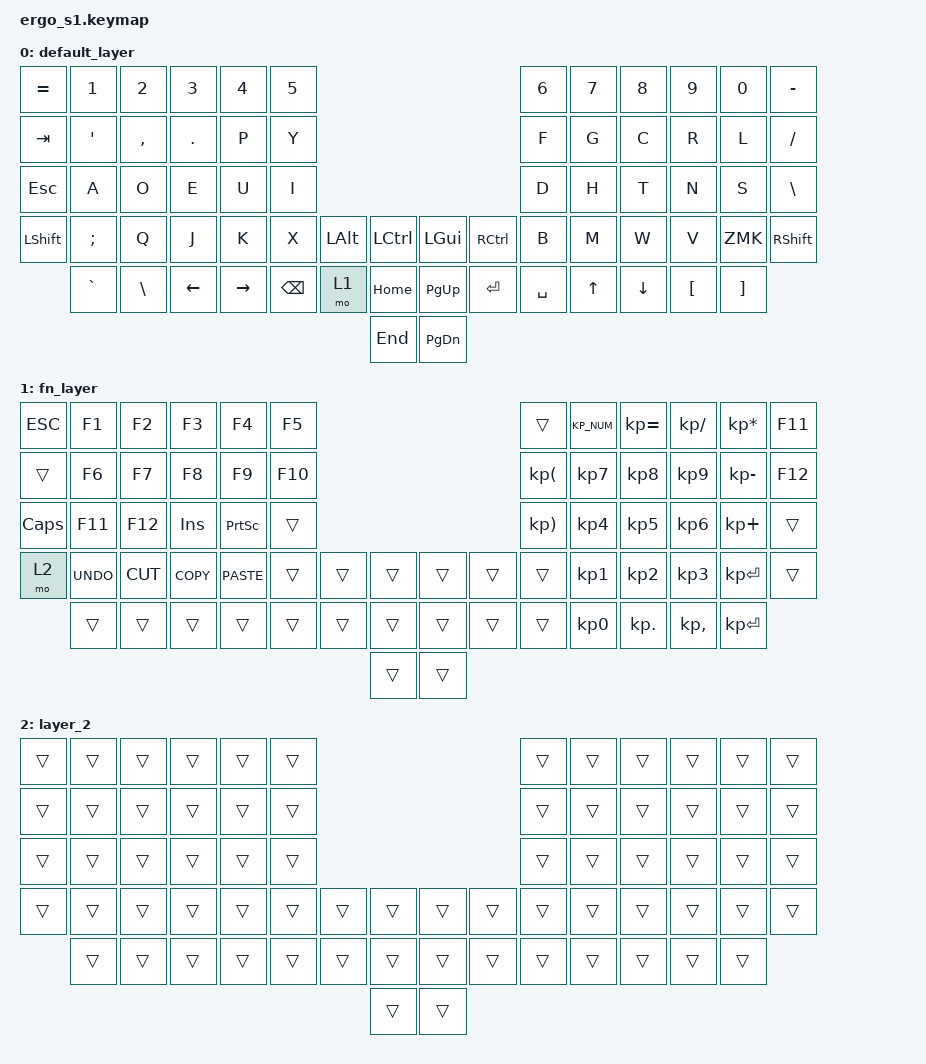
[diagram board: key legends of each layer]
/*
 * Copyright (c) 2021 The ZMK Contributors
 *
 * SPDX-License-Identifier: MIT
 */

#include <behaviors.dtsi>
#include <dt-bindings/zmk/keys.h>
#include <dt-bindings/zmk/bt.h>
#include <dt-bindings/zmk/ext_power.h>
#include <dt-bindings/zmk/outputs.h>

#define DEFAULT 0
#define FN  1

// |------|------|------|------|------|------|                                                |------|------|------|------|------|------|
// | SW1  | SW2  | SW3  | SW4  | SW5  | SW6  |                                                | SW6  | SW5  | SW4  | SW3  | SW2  | SW1  |
// |------|------|------|------|------|------|                                                |------|------|------|------|------|------|
// | SW7  | SW8  | SW9  | SW10 | SW11 | SW12 |                                                | SW12 | SW11 | SW10 | SW9  | SW8  | SW7  |
// |------|------|------|------|------|------|                                                |------|------|------|------|------|------|
// | SW13 | SW14 | SW15 | SW16 | SW17 | SW18 |                                                | SW18 | SW17 | SW16 | SW15 | SW14 | SW13 |
// |------|------|------|------|------|------|------|------|                    |------|------|------|------|------|------|------|------|
// | SW19 | SW20 | SW21 | SW22 | SW23 | SW24 | SW25 | SW26 |                    | SW26 | SW25 | SW24 | SW23 | SW22 | SW21 | SW20 | SW19 |
// |------|------|------|------|------|------|------|------|                    |------|------|------|------|------|------|------|------|
// |      | SW27 | SW28 | SW29 | SW30 | SW31 | SW32 | SW33 |                    | SW33 | SW32 | SW31 | SW30 | SW29 | SW28 | SW27 |      |
// |------|------|------|------|------|      |      |------|                    |------|      |      |------|------|------|------|------|
//                                    |      |      | SW34 |                    | SW34 |      |      |
//                                    |------|------|------|                    |------|------|------|

/ {
    keymap {
        compatible = "zmk,keymap";

        default_layer {
            // ---------------------------------------------------------------------------------------------------------------------------------
            // | EQLS  |  1   |  2   |  3   |  4   |  5   |                                                   |  6   |  7   |  8   |  9   |  0   | MINS |
            // | TAB   |  "   |  <   |  >   |  P   |  Y   |                                                   |  F   |  G   |  C   |  R   |  L   | SLSH |
            // | ESC   |  A   |  O   |  E   |  U   |  I   |                                                   |  D   |  H   |  T   |  N   |  S   | \    |
            // | LSHFT |  ;   |  Q   |  J   |  K   |  X   |      | ALT  | CTRL |         | WIN  | CTL  |      |  B   |  M   |  W   |  V   |  Z   | SHFT |
            //         | GRV  | BSLS | LEFT | RGHT |      | BSPC |  FN  | HOME |         | PGUP | ENT  | SPC  |      |  UP  |  DN  |  [   |  ]   |
            //                                                          | END  |         | PGDN |

            bindings = <
&kp EQUAL   &kp N1     &kp N2      &kp N3    &kp N4     &kp N5                                                                             &kp N6  &kp N7  &kp N8     &kp N9      &kp N0     &kp MINUS
&kp TAB     &kp SQT    &kp COMMA   &kp DOT   &kp P      &kp Y                                                                              &kp F   &kp G   &kp C      &kp R       &kp L      &kp SLASH
&kp ESC     &kp A      &kp O       &kp E     &kp U      &kp I                                                                              &kp D   &kp H   &kp T      &kp N       &kp S      &kp BSLH
&kp LSHIFT  &kp SEMI   &kp Q       &kp J     &kp K      &kp X             &kp LALT   &kp LCTRL       &kp LGUI       &kp RCTRL              &kp B   &kp M   &kp W      &kp V       &kp ZMK    &kp RSHIFT
            &kp GRAVE  &kp BSLH    &kp LEFT  &kp RIGHT          &kp BSPC  &mo 1      &kp HOME        &kp PG_UP      &kp ENTER  &kp SPACE           &kp UP  &kp DOWN   &kp LBKT    &kp RBKT
                                                                                     &kp END         &kp PG_DN
            >;
        };

        fn_layer {
            // ---------------------------------------------------------------------------------------------------------------------------------
            // |BT_CLR|  F1  |  F2  |  F3  |  F4   |  F5  |                                                   |      | NLCK |  =   |  /   |  *   |      |
            // |      |  F6  |  F7  |  F8  |  F9   |  F10 |                                                   |  (   |  7   |  8   |  9   |  -   |      |
            // |      |  F11 |  F12 | INS  | PRTSC |      |                                                   |  )   |  4   |  5   |  6   |  +   |      |
            // | C-z  | C-x  | C-c  | C-v  |       |      |      |      |      |         |      |      |      |      |  1   |  2   |  3   | ENT  |      |
            //        |      | INS  |      |       |      |      |  FN  |      |         |      |      |      |      |  0   |  .   |  ,   | ENT  |
            //                                                          |      |         |      |

            bindings = <
&ESC          &kp F1     &kp F2    &kp F3     &kp F4      &kp F5                                                          &trans       &KP_NUM       &kp KP_EQUAL  &kp KP_SLASH   &kp KP_ASTERISK   &kp F11
&trans        &kp F6     &kp F7    &kp F8     &kp F9      &kp F10                                                         &kp KP_LPAR  &kp KP_N7     &kp KP_N8     &kp KP_N9      &kp KP_MINUS      &kp F12
&kp CAPSLOCK  &kp F11    &kp F12   &kp INS    &kp PSCRN   &trans                                                          &kp KP_RPAR  &kp KP_N4     &kp KP_N5     &kp KP_N6      &kp KP_PLUS       &trans
&mo 2         &kp K_UNDO &kp K_CUT &kp K_COPY &kp K_PASTE &trans            &trans &trans    &trans  &trans               &trans       &kp KP_N1     &kp KP_N2     &kp KP_N3      &kp KP_ENTER      &trans
              &trans     &trans    &trans     &trans                &trans  &trans &trans    &trans  &trans  &trans                    &kp KP_N0     &kp KP_DOT    &kp KP_COMMA   &kp KP_ENTER
                                                                                   &trans    &trans
            >;
        };

        layer_2 {
            bindings = <
&trans  &trans  &trans  &trans  &trans  &trans                                                    &trans  &trans  &trans  &trans  &trans  &trans
&trans  &trans  &trans  &trans  &trans  &trans                                                    &trans  &trans  &trans  &trans  &trans  &trans
&trans  &trans  &trans  &trans  &trans  &trans                                                    &trans  &trans  &trans  &trans  &trans  &trans
&trans  &trans  &trans  &trans  &trans  &trans          &trans  &trans    &trans  &trans          &trans  &trans  &trans  &trans  &trans  &trans
        &trans  &trans  &trans  &trans          &trans  &trans  &trans    &trans  &trans  &trans          &trans  &trans  &trans  &trans
                                                                &trans    &trans
            >;
        };
    };
};
